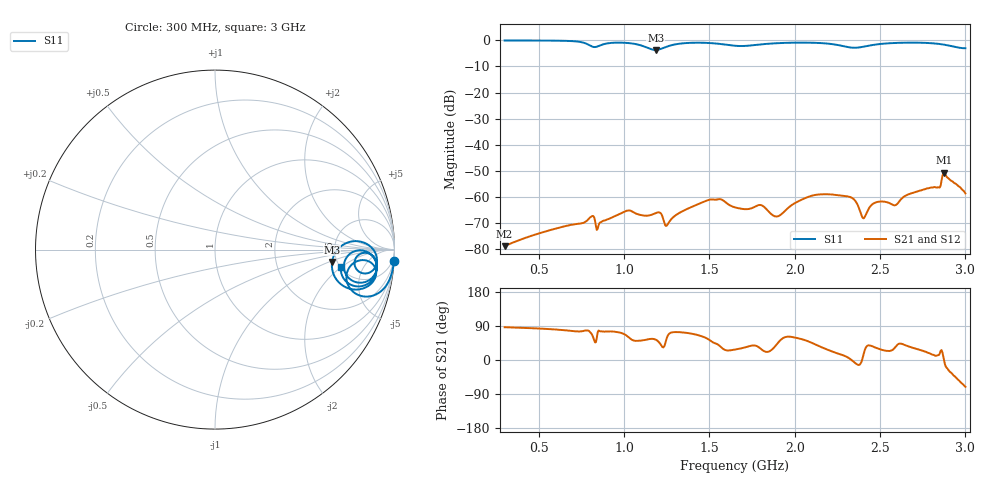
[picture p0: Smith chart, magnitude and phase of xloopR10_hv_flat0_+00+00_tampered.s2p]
! xloopR10_hv_flat0_+00+00_tampered, gap C 0.80 pF
! simulated by sim/fixtures_fdtd.py (S12 = S21, S22 not computed)
# HZ S RI R 50
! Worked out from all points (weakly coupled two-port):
!   541 points, 300 MHz to 3 GHz, reference 50 ohm
!   highest |S21| = -50.72 dB at 2.875 GHz (marker M1); lowest = -79.0 dB at 300 MHz (marker M2)
!   lowest |S11| = -3.7 dB at 1.185 GHz (marker M3), VSWR 4.81, Z = 227 - j54.8 ohm
!   |S11| at or under -10 dB: nowhere
!   |S22| runs from - to - dB; largest |S21 - S12| = 0
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3e8  0.9971 -0.0607  6.9e-06 0.000112  6.9e-06 0.000112  0 0
7.5e8  0.8913 -0.2523  7.57e-05 0.000301  7.57e-05 0.000301  0 0
8.1e8  0.7436 -0.2025  0.000153 0.00039  0.000153 0.00039  0 0
8.45e8  0.7629 -0.0826  7.29e-05 0.00023  7.29e-05 0.00023  0 0
8.65e8  0.8124 -0.0591  8.27e-05 0.000316  8.27e-05 0.000316  0 0
1.02e9  0.8742 -0.1855  0.000251 0.000482  0.000251 0.000482  0 0
1.09e9  0.7883 -0.2228  0.000285 0.000351  0.000285 0.000351  0 0
1.185e9  0.6523 -0.0688  0.000286 0.000392  0.000286 0.000392  0 0
1.2e9  0.6647 -0.028  0.000329 0.000378  0.000329 0.000378  0 0
1.25e9  0.7581 0.0447  0.000149 0.000236  0.000149 0.000236  0 0
1.5e9  0.8854 -0.1093  0.000528 0.000699  0.000528 0.000699  0 0
1.65e9  0.7836 -0.1017  0.000554 0.00029  0.000554 0.00029  0 0
1.8e9  0.838 -0.0178  0.000601 0.000347  0.000601 0.000347  0 0
1.895e9  0.8838 -0.04  0.000313 0.000278  0.000313 0.000278  0 0
2.1e9  0.8938 -0.1309  0.000737 0.000743  0.000737 0.000743  0 0
2.325e9  0.7229 -0.1233  0.000987 4.64e-05  0.000987 4.64e-05  0 0
2.405e9  0.7601 -0.0176  0.000368 0.000119  0.000368 0.000119  0 0
2.465e9  0.8252 -0.00545  0.000624 0.000423  0.000624 0.000423  0 0
2.55e9  0.8803 -0.0393  0.000703 0.000309  0.000703 0.000309  0 0
2.845e9  0.8346 -0.1985  0.00147 0.000349  0.00147 0.000349  0 0
2.875e9  0.8044 -0.2052  0.00291 -5.13e-05  0.00291 -5.13e-05  0 0
3e9  0.7021 -0.0955  0.000383 -0.0011  0.000383 -0.0011  0 0
